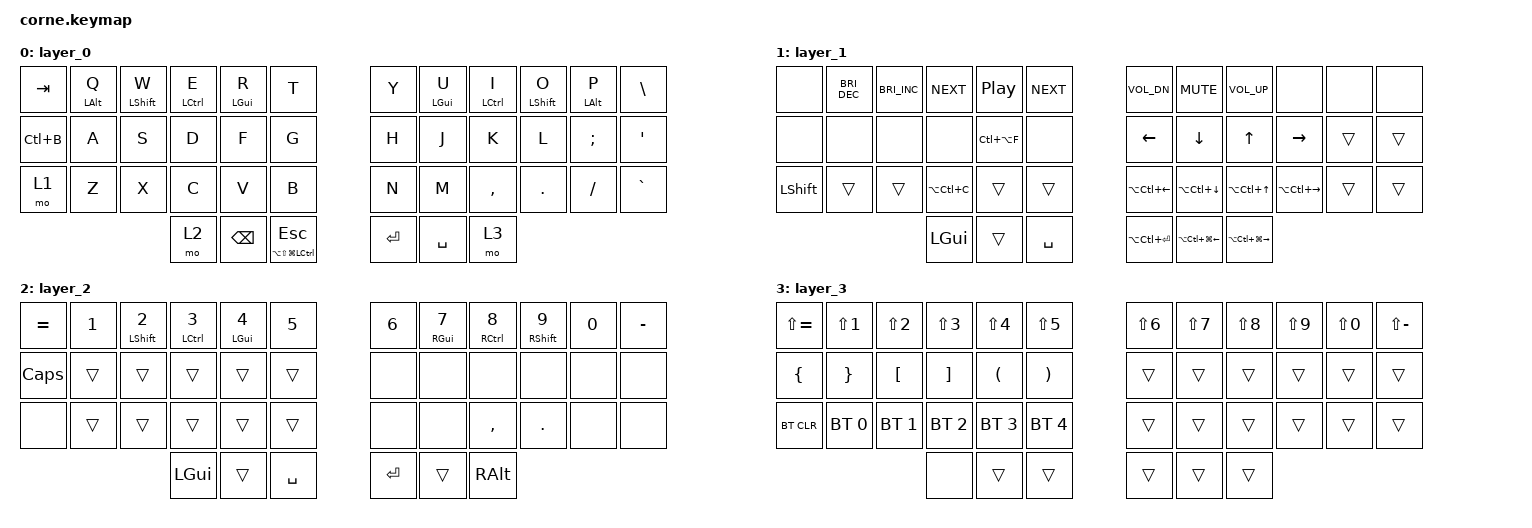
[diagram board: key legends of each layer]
/*
 * Copyright (c) 2020 The ZMK Contributors
 *
 * SPDX-License-Identifier: MIT
 */

#include <behaviors.dtsi>
#include <dt-bindings/zmk/bt.h>
#include <dt-bindings/zmk/keys.h>

#define ALL LA(LS(LG(LCTRL)))

&mt {
    quick-tap-ms = <175>;
    require-prior-idle-ms = <100>;
    flavor = "balanced";
    hold-trigger-on-release;
    hold-trigger-key-positions = <1 2 3 4 7 8 9 10 38>;
};

/ {
    combos {
        compatible = "zmk,combos";

        Capslock {
            bindings = <&kp CAPSLOCK>;
            key-positions = <37 40>;
        };

        parenthL {
            bindings = <&kp LEFT_PARENTHESIS>;
            key-positions = <4 5>;
        };

        bracketsL {
            bindings = <&kp LEFT_BRACKET>;
            key-positions = <16 17>;
        };

        curlyL {
            bindings = <&kp LEFT_BRACE>;
            key-positions = <28 29>;
        };

        parenthR {
            bindings = <&kp RIGHT_PARENTHESIS>;
            key-positions = <6 7>;
        };

        bracketR {
            bindings = <&kp RIGHT_BRACKET>;
            key-positions = <18 19>;
        };

        curlyR {
            bindings = <&kp RIGHT_BRACE>;
            key-positions = <30 31>;
        };
    };

    keymap {
        compatible = "zmk,keymap";

        layer_0 {
            bindings = <
&kp TAB    &mt LEFT_ALT Q  &mt LEFT_SHIFT W  &mt LEFT_CONTROL E  &mt LEFT_GUI R  &kp T          &kp Y    &mt LEFT_GUI U  &mt LEFT_CONTROL I  &mt LEFT_SHIFT O  &mt LEFT_ALT P  &kp BSLH
&kp LC(B)  &kp A           &kp S             &kp D               &kp F           &kp G          &kp H    &kp J           &kp K               &kp L             &kp SEMI        &kp SQT
&mo 1      &kp Z           &kp X             &kp C               &kp V           &kp B          &kp N    &kp M           &kp COMMA           &kp DOT           &kp FSLH        &kp GRAVE
                                             &mo 2               &kp BACKSPACE   &mt ALL ESC    &kp RET  &kp SPACE       &mo 3
            >;
        };

        layer_1 {
            bindings = <
&none      &kp C_BRIGHTNESS_DEC  &kp C_BRIGHTNESS_INC  &kp C_NEXT     &kp C_PLAY_PAUSE  &kp C_NEXT    &kp C_VOL_DN      &kp C_MUTE            &kp C_VOL_UP           &none              &none   &none
&none      &none                 &none                 &none          &kp LC(LA(F))     &none         &kp LEFT          &kp DOWN              &kp UP                 &kp RIGHT          &trans  &trans
&kp LSHFT  &trans                &trans                &kp LA(LC(C))  &trans            &trans        &kp LA(LC(LEFT))  &kp LA(LC(DOWN))      &kp LA(LC(UP))         &kp LA(LC(RIGHT))  &trans  &trans
                                                       &kp LGUI       &trans            &kp SPACE     &kp LA(LC(RET))   &kp LA(LC(LG(LEFT)))  &kp LA(LC(LG(RIGHT)))
            >;
        };

        layer_2 {
            bindings = <
&kp EQUAL  &kp NUMBER_1  &mt LEFT_SHIFT NUMBER_2  &mt LEFT_CONTROL NUMBER_3  &mt LEFT_GUI NUMBER_4  &kp N5       &kp N6   &mt RIGHT_GUI N7  &mt RIGHT_CONTROL N8  &mt RIGHT_SHIFT N9  &kp N0  &kp MINUS
&kp CLCK   &trans        &trans                   &trans                     &trans                 &trans       &none    &none             &none                 &none               &none   &none
&none      &trans        &trans                   &trans                     &trans                 &trans       &none    &none             &kp COMMA             &kp PERIOD          &none   &none
                                                  &kp LGUI                   &trans                 &kp SPACE    &kp RET  &trans            &kp RALT
            >;
        };

        layer_3 {
            bindings = <
&kp LS(EQUAL)   &kp LS(N1)       &kp LS(NUMBER_2)  &kp LS(NUMBER_3)   &kp LS(NUMBER_4)      &kp LS(N5)      &kp LS(NUMBER_6)  &kp LS(N7)  &kp LS(N8)  &kp LS(N9)  &kp LS(N0)  &kp LS(MINUS)
&kp LEFT_BRACE  &kp RIGHT_BRACE  &kp LEFT_BRACKET  &kp RIGHT_BRACKET  &kp LEFT_PARENTHESIS  &kp RPAR        &trans            &trans      &trans      &trans      &trans      &trans
&bt BT_CLR      &bt BT_SEL 0     &bt BT_SEL 1      &bt BT_SEL 2       &bt BT_SEL 3          &bt BT_SEL 4    &trans            &trans      &trans      &trans      &trans      &trans
                                                   &none              &trans                &trans          &trans            &trans      &trans
            >;
        };
    };
};
